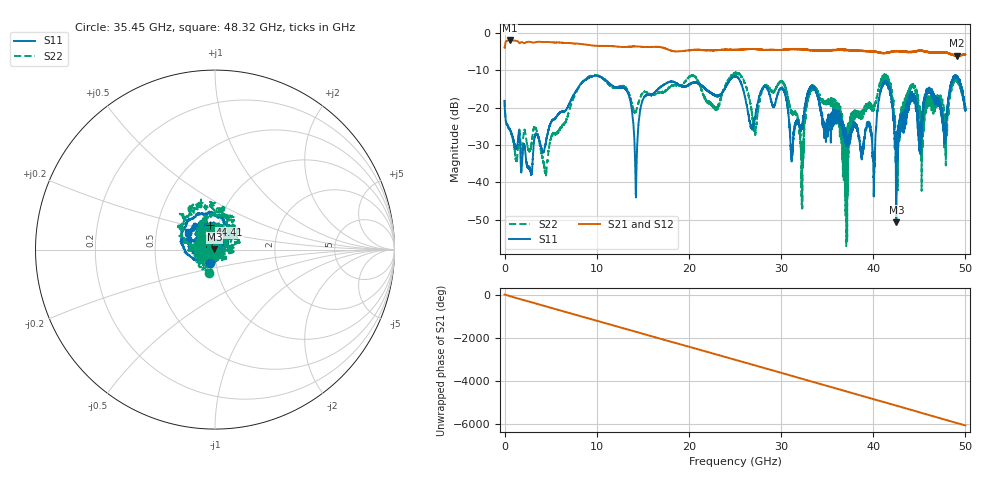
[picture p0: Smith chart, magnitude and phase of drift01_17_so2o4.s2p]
!Created with skrf (http://scikit-rf.org).
# Hz S RI R 50.0
!freq ReS11 ImS11 ReS21 ImS21 ReS12 ImS12 ReS22 ImS22
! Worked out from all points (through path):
!   10001 points, 300 kHz to 50 GHz, reference 50 ohm
!   highest |S21| = -2.00 dB at 570.3 MHz (marker M1); lowest = -6.1 dB at 49.05 GHz (marker M2)
!   group delay of S21, straight-line fit = 336 ps
!   lowest |S11| = -50.7 dB at 42.51 GHz (marker M3), VSWR 1.01, Z = 49.7 + j0.0657 ohm
!   |S11| at or under -10 dB: start of sweep to end of sweep
!   |S22| runs from -57.1 to -10.5 dB; largest |S21 - S12| = 0.021
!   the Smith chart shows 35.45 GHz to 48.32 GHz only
!   S11 on the Smith chart (normalised r, x): 35.45 GHz: 0.94, -0.14; 44.41 GHz: 0.91, +0.26; 48.32 GHz: 0.73, +0.15
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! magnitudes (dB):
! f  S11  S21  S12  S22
! 300 kHz  -18.2  -3.9  -4.0  -17.9
! 570.3 MHz  -26.0  -2.0  -2.0  -26.0
! 4.435 GHz  -29.9  -2.4  -2.4  -37.1
! 8.335 GHz  -13.5  -3.0  -3.0  -13.5
! 13.17 GHz  -15.1  -3.7  -3.7  -14.6
! 14.25 GHz  -42.8  -3.6  -3.6  -21.1
! 16.67 GHz  -15.0  -3.7  -3.7  -15.9
! 25 GHz  -11.6  -4.5  -4.6  -10.9
! 27.14 GHz  -22.8  -4.3  -4.3  -25.9
! 30.2 GHz  -15.1  -4.5  -4.5  -13.3
! 32.23 GHz  -24.9  -4.4  -4.4  -43.8
! 33.34 GHz  -14.4  -4.7  -4.6  -14.4
! 35.45 GHz  -21.8  -4.6  -4.6  -17.4
! 37.04 GHz  -27.0  -4.6  -4.5  -29.4
! 40.06 GHz  -43.8  -5.0  -5.0  -20.7
! 41.67 GHz  -14.4  -5.1  -5.2  -12.7
! 42.51 GHz  -50.7  -4.9  -5.0  -27.9
! 44.41 GHz  -17.0  -5.0  -5.0  -14.3
! 45.31 GHz  -22.6  -4.7  -4.9  -28.0
! 48.32 GHz  -15.0  -5.6  -5.6  -17.8
! 49.05 GHz  -11.6  -6.1  -6.1  -12.3
! 50 GHz  -20.5  -5.8  -5.8  -19.7
